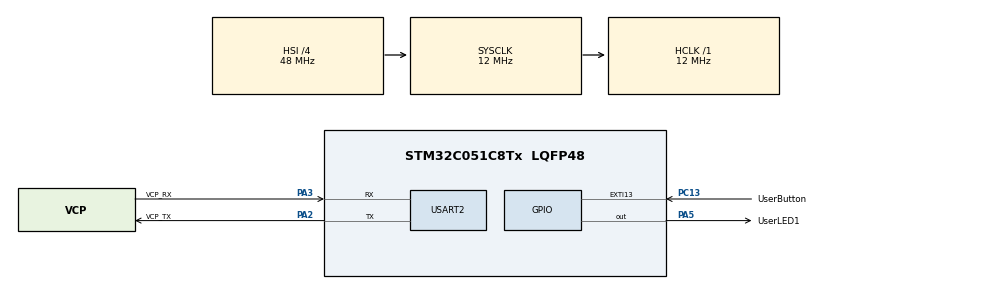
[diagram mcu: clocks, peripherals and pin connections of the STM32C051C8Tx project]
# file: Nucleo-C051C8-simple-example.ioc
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Mcu.Family=STM32C0
Mcu.Name=STM32C051C8Tx
Mcu.Package=LQFP48
NVIC.EXTI4_15_IRQn=true\:0\:0\:false\:false\:true\:true\:true\:true
PA13.GPIO_Label=SWDIO
PA13.Signal=DEBUG_SWDIO
PA14-BOOT0.GPIO_Label=SWCLK
PA14-BOOT0.Signal=DEBUG_SWCLK
PA2.GPIO_Label=VCP_TX
PA2.Mode=Asynchronous
PA2.Signal=USART2_TX
PA3.GPIO_Label=VCP_RX
PA3.Mode=Asynchronous
PA3.Signal=USART2_RX
PA5.GPIO_Label=UserLED1
PA5.Signal=GPIO_Output
PC13.GPIO_Label=UserButton
PC13.GPIO_ModeDefaultEXTI=GPIO_MODE_IT_RISING
PC13.GPIO_PuPd=GPIO_PULLUP
PC13.Signal=GPXTI13
PC14-OSCX_IN(PC14).GPIO_Label=OSCX_IN
PC14-OSCX_IN(PC14).Signal=RCC_OSCX_IN
PC15-OSCX_OUT(PC15).GPIO_Label=OSCX_OUT
PC15-OSCX_OUT(PC15).Signal=RCC_OSCX_OUT
PF0-OSC_IN(PF0).GPIO_Label=OSC_IN
PF0-OSC_IN(PF0).Signal=RCC_OSC_IN
PF1-OSC_OUT(PF1).GPIO_Label=OSC_OUT
PF1-OSC_OUT(PF1).Signal=RCC_OSC_OUT
ProjectManager.HeapSize=0x200
ProjectManager.StackSize=0x400
ProjectManager.TargetToolchain=STM32CubeIDE
RCC.ADCFreq_Value=12000000
RCC.AHBFreq_Value=12000000
RCC.CortexFreq_Value=12000000
RCC.EXTERNAL_CLOCK_VALUE=12288000
RCC.HCLKFreq_Value=12000000
RCC.HSE_VALUE=8000000
RCC.HSI_VALUE=48000000
RCC.LSE_VALUE=32768
RCC.SYSCLKFreq_VALUE=12000000
USART2.VirtualMode-Asynchronous=VM_ASYNC
board=NUCLEO-C051C8

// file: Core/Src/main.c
/* USER CODE BEGIN Header */
/**
  ******************************************************************************
  * @file           : main.c
  * @brief          : Main program body
  ******************************************************************************
  * @attention
  *
  * Copyright (c) 2026 STMicroelectronics.
  * All rights reserved.
  *
  * This software is licensed under terms that can be found in the LICENSE file
  * in the root directory of this software component.
  * If no LICENSE file comes with this software, it is provided AS-IS.
  *
  ******************************************************************************
  */
/* USER CODE END Header */
#include "main.h"
#include "usart.h"
#include "gpio.h"

/* USER CODE BEGIN Includes */

#include "noRTOS.h"

#include "fifo.h"

void noRTOS_DIGITAL_INPUT_IRQ(void){
	printf("Hardware Interrupt: Button Pressed\n");
}

void blinky(void){
	NUCLEO_LED_toggle();
}

/* USER CODE END Includes */

void SystemClock_Config(void);

int main(void)
{

  /* MCU Configuration--------------------------------------------------------*/

  /* Reset of all peripherals, Initializes the Flash interface and the Systick. */
  HAL_Init();

  /* Configure the system clock */
  SystemClock_Config();

  /* Initialize all configured peripherals */
  MX_GPIO_Init();
  MX_USART2_UART_Init();
  /* USER CODE BEGIN 2 */

  noRTOS_task_t blinky_t = {.delay = eNORTOS_PERIODE_1s, .task_callback = blinky};
  noRTOS_add_task_to_scheduler( &blinky_t);

  noRTOS_run_scheduler();

  /* USER CODE END 2 */

  /* Infinite loop */
  while (1)
  {

  }
}

void SystemClock_Config(void)
{
  RCC_OscInitTypeDef RCC_OscInitStruct = {0};
  RCC_ClkInitTypeDef RCC_ClkInitStruct = {0};

  __HAL_FLASH_SET_LATENCY(FLASH_LATENCY_0);

  /** Initializes the RCC Oscillators according to the specified parameters
  * in the RCC_OscInitTypeDef structure.
  */
  RCC_OscInitStruct.OscillatorType = RCC_OSCILLATORTYPE_HSI;
  RCC_OscInitStruct.HSIState = RCC_HSI_ON;
  RCC_OscInitStruct.HSIDiv = RCC_HSI_DIV4;
  RCC_OscInitStruct.HSICalibrationValue = RCC_HSICALIBRATION_DEFAULT;
  if (HAL_RCC_OscConfig(&RCC_OscInitStruct) != HAL_OK)
  {
    Error_Handler();
  }

  /** Initializes the CPU, AHB and APB buses clocks
  */
  RCC_ClkInitStruct.ClockType = RCC_CLOCKTYPE_HCLK|RCC_CLOCKTYPE_SYSCLK
                              |RCC_CLOCKTYPE_PCLK1;
  RCC_ClkInitStruct.SYSCLKSource = RCC_SYSCLKSOURCE_HSI;
  RCC_ClkInitStruct.SYSCLKDivider = RCC_SYSCLK_DIV1;
  RCC_ClkInitStruct.AHBCLKDivider = RCC_HCLK_DIV1;
  RCC_ClkInitStruct.APB1CLKDivider = RCC_APB1_DIV1;

  if (HAL_RCC_ClockConfig(&RCC_ClkInitStruct, FLASH_LATENCY_0) != HAL_OK)
  {
    Error_Handler();
  }
}

/* USER CODE BEGIN 4 */

void HAL_GPIO_EXTI_Rising_Callback(uint16_t GPIO_Pin){
	if(GPIO_Pin == UserButton_Pin) {
		noRTOS_set_interrupt_received_flag(eBIT_MASK_DI_INTERRUPT);
	}
}

void HAL_GPIO_EXTI_Falling_Callback(uint16_t GPIO_Pin){
	if(GPIO_Pin == UserButton_Pin) {
		__NOP();
	}
}

/* USER CODE END 4 */

void Error_Handler(void)
{
  __disable_irq();
  while (1)
  {
  }
}
